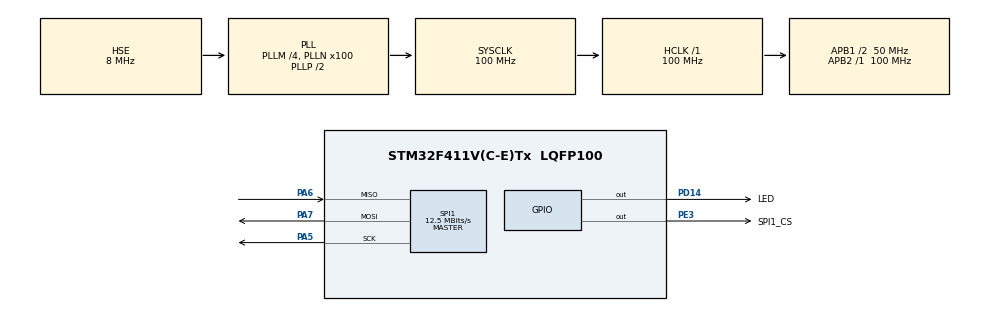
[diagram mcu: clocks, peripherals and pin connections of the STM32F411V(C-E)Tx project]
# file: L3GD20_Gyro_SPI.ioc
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Mcu.Family=STM32F4
Mcu.Name=STM32F411V(C-E)Tx
Mcu.Package=LQFP100
NVIC.PriorityGroup=NVIC_PRIORITYGROUP_4
PA13.Mode=Serial_Wire
PA13.Signal=SYS_JTMS-SWDIO
PA14.Mode=Serial_Wire
PA14.Signal=SYS_JTCK-SWCLK
PA5.Mode=Full_Duplex_Master
PA5.Signal=SPI1_SCK
PA6.Mode=Full_Duplex_Master
PA6.Signal=SPI1_MISO
PA7.Mode=Full_Duplex_Master
PA7.Signal=SPI1_MOSI
PD14.GPIO_Label=LED
PD14.Signal=GPIO_Output
PE3.GPIO_Label=SPI1_CS
PE3.GPIO_PuPd=GPIO_PULLUP
PE3.GPIO_Speed=GPIO_SPEED_FREQ_HIGH
PE3.Signal=GPIO_Output
PH0\ -\ OSC_IN.Mode=HSE-External-Oscillator
PH0\ -\ OSC_IN.Signal=RCC_OSC_IN
PH1\ -\ OSC_OUT.Mode=HSE-External-Oscillator
PH1\ -\ OSC_OUT.Signal=RCC_OSC_OUT
ProjectManager.HeapSize=0x200
ProjectManager.StackSize=0x400
ProjectManager.TargetToolchain=STM32CubeIDE
RCC.48MHZClocksFreq_Value=50000000
RCC.AHBFreq_Value=100000000
RCC.APB1CLKDivider=RCC_HCLK_DIV2
RCC.APB1Freq_Value=50000000
RCC.APB1TimFreq_Value=100000000
RCC.APB2Freq_Value=100000000
RCC.APB2TimFreq_Value=100000000
RCC.CortexFreq_Value=100000000
RCC.HCLKFreq_Value=100000000
RCC.HSE_VALUE=8000000
RCC.HSI_VALUE=16000000
RCC.LSE_VALUE=32768
RCC.PLLM=4
RCC.PLLN=100
RCC.PLLSourceVirtual=RCC_PLLSOURCE_HSE
RCC.SYSCLKFreq_VALUE=100000000
RCC.SYSCLKSource=RCC_SYSCLKSOURCE_PLLCLK
RCC.VCOOutputFreq_Value=200000000
SPI1.BaudRatePrescaler=SPI_BAUDRATEPRESCALER_8
SPI1.CalculateBaudRate=12.5 MBits/s
SPI1.Direction=SPI_DIRECTION_2LINES
SPI1.Mode=SPI_MODE_MASTER
SPI1.VirtualType=VM_MASTER
board=custom

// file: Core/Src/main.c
/* USER CODE BEGIN Header */
/**
  ******************************************************************************
  * @file           : main.c
  * @brief          : Main program body
  ******************************************************************************
  * @attention
  *
  * Copyright (c) 2024 STMicroelectronics.
  * All rights reserved.
  *
  * This software is licensed under terms that can be found in the LICENSE file
  * in the root directory of this software component.
  * If no LICENSE file comes with this software, it is provided AS-IS.
  *
  ******************************************************************************
  */
/* USER CODE END Header */
#include "main.h"

/* USER CODE BEGIN Includes */
#include "L3GD20.h"
/* USER CODE END Includes */

/* USER CODE BEGIN PM */
L3GD20TypeDef L3GD20;
/* USER CODE END PM */

SPI_HandleTypeDef hspi1;

/* USER CODE BEGIN PV */
uint8_t isInitialized = 0x00;
uint8_t L3GD20_Buffer[10];
volatile int16_t Gyro_RawData[3];
/* USER CODE END PV */

void SystemClock_Config(void);
static void MX_GPIO_Init(void);
static void MX_SPI1_Init(void);
/* USER CODE BEGIN PFP */
void Gyro_L3GD20_Init(void);
void Gyro_L3GD20_ReadData(void);
/* USER CODE END PFP */

int main(void)
{

  /* MCU Configuration--------------------------------------------------------*/

  /* Reset of all peripherals, Initializes the Flash interface and the Systick. */
  HAL_Init();

  /* Configure the system clock */
  SystemClock_Config();

  /* Initialize all configured peripherals */
  MX_GPIO_Init();
  MX_SPI1_Init();
  /* USER CODE BEGIN 2 */
  Gyro_L3GD20_Init();
  /* USER CODE END 2 */

  /* Infinite loop */
  while (1)
  {

    /* USER CODE BEGIN 3 */
	  Gyro_L3GD20_ReadData();
	  HAL_GPIO_TogglePin(LED_GPIO_Port, LED_Pin);
	  HAL_Delay(1);
  }
  /* USER CODE END 3 */
}

void SystemClock_Config(void)
{
  RCC_OscInitTypeDef RCC_OscInitStruct = {0};
  RCC_ClkInitTypeDef RCC_ClkInitStruct = {0};

  /** Configure the main internal regulator output voltage
  */
  __HAL_RCC_PWR_CLK_ENABLE();
  __HAL_PWR_VOLTAGESCALING_CONFIG(PWR_REGULATOR_VOLTAGE_SCALE1);

  /** Initializes the RCC Oscillators according to the specified parameters
  * in the RCC_OscInitTypeDef structure.
  */
  RCC_OscInitStruct.OscillatorType = RCC_OSCILLATORTYPE_HSE;
  RCC_OscInitStruct.HSEState = RCC_HSE_ON;
  RCC_OscInitStruct.PLL.PLLState = RCC_PLL_ON;
  RCC_OscInitStruct.PLL.PLLSource = RCC_PLLSOURCE_HSE;
  RCC_OscInitStruct.PLL.PLLM = 4;
  RCC_OscInitStruct.PLL.PLLN = 100;
  RCC_OscInitStruct.PLL.PLLP = RCC_PLLP_DIV2;
  RCC_OscInitStruct.PLL.PLLQ = 4;
  if (HAL_RCC_OscConfig(&RCC_OscInitStruct) != HAL_OK)
  {
    Error_Handler();
  }

  /** Initializes the CPU, AHB and APB buses clocks
  */
  RCC_ClkInitStruct.ClockType = RCC_CLOCKTYPE_HCLK|RCC_CLOCKTYPE_SYSCLK
                              |RCC_CLOCKTYPE_PCLK1|RCC_CLOCKTYPE_PCLK2;
  RCC_ClkInitStruct.SYSCLKSource = RCC_SYSCLKSOURCE_PLLCLK;
  RCC_ClkInitStruct.AHBCLKDivider = RCC_SYSCLK_DIV1;
  RCC_ClkInitStruct.APB1CLKDivider = RCC_HCLK_DIV2;
  RCC_ClkInitStruct.APB2CLKDivider = RCC_HCLK_DIV1;

  if (HAL_RCC_ClockConfig(&RCC_ClkInitStruct, FLASH_LATENCY_3) != HAL_OK)
  {
    Error_Handler();
  }
}

static void MX_SPI1_Init(void)
{

  /* SPI1 parameter configuration*/
  hspi1.Instance = SPI1;
  hspi1.Init.Mode = SPI_MODE_MASTER;
  hspi1.Init.Direction = SPI_DIRECTION_2LINES;
  hspi1.Init.DataSize = SPI_DATASIZE_8BIT;
  hspi1.Init.CLKPolarity = SPI_POLARITY_LOW;
  hspi1.Init.CLKPhase = SPI_PHASE_1EDGE;
  hspi1.Init.NSS = SPI_NSS_SOFT;
  hspi1.Init.BaudRatePrescaler = SPI_BAUDRATEPRESCALER_64;
  hspi1.Init.FirstBit = SPI_FIRSTBIT_MSB;
  hspi1.Init.TIMode = SPI_TIMODE_DISABLE;
  hspi1.Init.CRCCalculation = SPI_CRCCALCULATION_DISABLE;
  hspi1.Init.CRCPolynomial = 10;
  if (HAL_SPI_Init(&hspi1) != HAL_OK)
  {
    Error_Handler();
  }

}

static void MX_GPIO_Init(void)
{
  GPIO_InitTypeDef GPIO_InitStruct = {0};

  /* GPIO Ports Clock Enable */
  __HAL_RCC_GPIOE_CLK_ENABLE();
  __HAL_RCC_GPIOH_CLK_ENABLE();
  __HAL_RCC_GPIOA_CLK_ENABLE();
  __HAL_RCC_GPIOD_CLK_ENABLE();

  /*Configure GPIO pin Output Level */
  HAL_GPIO_WritePin(SPI1_CS_GPIO_Port, SPI1_CS_Pin, GPIO_PIN_RESET);

  /*Configure GPIO pin Output Level */
  HAL_GPIO_WritePin(LED_GPIO_Port, LED_Pin, GPIO_PIN_RESET);

  /*Configure GPIO pin : SPI1_CS_Pin */
  GPIO_InitStruct.Pin = SPI1_CS_Pin;
  GPIO_InitStruct.Mode = GPIO_MODE_OUTPUT_PP;
  GPIO_InitStruct.Pull = GPIO_PULLUP;
  GPIO_InitStruct.Speed = GPIO_SPEED_FREQ_HIGH;
  HAL_GPIO_Init(SPI1_CS_GPIO_Port, &GPIO_InitStruct);

  /*Configure GPIO pin : LED_Pin */
  GPIO_InitStruct.Pin = LED_Pin;
  GPIO_InitStruct.Mode = GPIO_MODE_OUTPUT_PP;
  GPIO_InitStruct.Pull = GPIO_NOPULL;
  GPIO_InitStruct.Speed = GPIO_SPEED_FREQ_LOW;
  HAL_GPIO_Init(LED_GPIO_Port, &GPIO_InitStruct);

}

/* USER CODE BEGIN 4 */
// <---- ------------ Gyyroscope Initialize ------------ ---->
void Gyro_L3GD20_Init(void)
{
	L3GD20.Gyro_PWR 			= L3GD20_MODE_ACTIVE;
	L3GD20.Gyro_DataRate 		= L3GD20_OUTPUT_DATARATE_4;
	L3GD20.Gyro_Axes 			= L3GD20_AXES_ENABLE;
	L3GD20.Gyro_Bandwidth 		= L3GD20_BANDWIDTH_4;
	L3GD20.Gyro_Scale 			= L3GD20_FULLSCALE_2000;
	L3GD20.Gyro_FilterEn		= L3GD20_HIGHPASSFILTER_ENABLE;
	L3GD20.Gyro_FilterMode 		= L3GD20_HPM_NORMAL_MODE_RES;
	L3GD20.Gyro_FilterCutFreq 	= L3GD20_HPFCF_0;

	isInitialized = L3GD20_Init(&hspi1, SPI1_CS_GPIO_Port, SPI1_CS_Pin, &L3GD20);
	if(isInitialized != L3GD20_RESULT_OK)
		Error_Handler();
}
// <---- ------------ Gyyroscope Read Data ------------ ---->
void Gyro_L3GD20_ReadData(void)
{
	L3GD20_ReadData(&hspi1, &L3GD20_Buffer[0], L3GD20_OUT_X_L_ADDR, 1);
	L3GD20_ReadData(&hspi1, &L3GD20_Buffer[1], L3GD20_OUT_X_H_ADDR, 1);
	L3GD20_ReadData(&hspi1, &L3GD20_Buffer[2], L3GD20_OUT_Y_L_ADDR, 1);
	L3GD20_ReadData(&hspi1, &L3GD20_Buffer[3], L3GD20_OUT_Y_H_ADDR, 1);
	L3GD20_ReadData(&hspi1, &L3GD20_Buffer[4], L3GD20_OUT_Z_L_ADDR, 1);
	L3GD20_ReadData(&hspi1, &L3GD20_Buffer[5], L3GD20_OUT_Z_H_ADDR, 1);

	Gyro_RawData[0] = (int16_t)(L3GD20_Buffer[0] | L3GD20_Buffer[1] << 8);
	Gyro_RawData[1] = (int16_t)(L3GD20_Buffer[2] | L3GD20_Buffer[3] << 8);
	Gyro_RawData[2] = (int16_t)(L3GD20_Buffer[4] | L3GD20_Buffer[5] << 8);
}

/* USER CODE END 4 */

void Error_Handler(void)
{
  __disable_irq();
  while (1)
  {
  }
}
